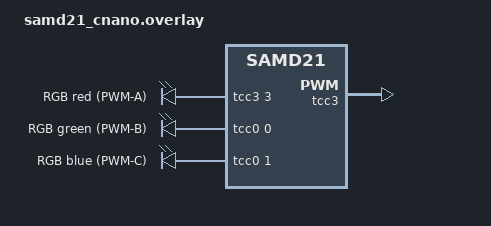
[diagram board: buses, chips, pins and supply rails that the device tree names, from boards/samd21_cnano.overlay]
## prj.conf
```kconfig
CONFIG_PWM=y
CONFIG_PWM_SAM0_TCC=y
CONFIG_PWM_SAM0_TC=n
```

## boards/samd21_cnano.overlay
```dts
/*
 * Curiosity Nano Explorer RGB LED on the SAM D21 Curiosity Nano (samd21_cnano).
 *
 * Explorer RGB LED (J309 jumpers fitted) <- CNANO socket analog section:
 *   RED   = PWM-A = CNANO "PWM3" = PB09
 *   GREEN = PWM-B = CNANO "PWM4" = PA04
 *   BLUE  = PWM-C = CNANO "ADC5" = PA05
 * (Explorer User Guide DS50003716 sec. 5.2/Fig. 10-3 + Curiosity Nano Explorer Pinouts.)
 *
 * PB09 only offers TC4/WO1 or TCC3/WO7. The TC PWM driver (pwm_sam0_tc.c) does
 * not support the SAMD21 TC register layout, so all three LEDs use TCC:
 *   GREEN PA04 -> TCC0/WO0 (CC0), BLUE PA05 -> TCC0/WO1 (CC1),
 *   RED   PB09 -> TCC3/WO7 (CC3; TCC3 exists on the SAMD21G17D only).
 */

/ {
	aliases {
		red-pwm-led = &red_pwm_led;
		green-pwm-led = &green_pwm_led;
		blue-pwm-led = &blue_pwm_led;
	};

	rgb_pwmleds {
		compatible = "pwm-leds";

		red_pwm_led: red_pwm_led {
			pwms = <&tcc3 3 PWM_MSEC(20)>;
			label = "RGB red (PWM-A)";
		};

		green_pwm_led: green_pwm_led {
			pwms = <&tcc0 0 PWM_MSEC(20)>;
			label = "RGB green (PWM-B)";
		};

		blue_pwm_led: blue_pwm_led {
			pwms = <&tcc0 1 PWM_MSEC(20)>;
			label = "RGB blue (PWM-C)";
		};
	};
};

&pinctrl {
	tcc0_rgb_default: tcc0_rgb_default {
		group1 {
			pinmux = <PA4E_TCC0_WO0>,	/* GREEN */
				 <PA5E_TCC0_WO1>;	/* BLUE */
		};
	};

	tcc3_rgb_default: tcc3_rgb_default {
		group1 {
			pinmux = <PB9F_TCC3_WO7>;	/* RED */
		};
	};
};

/* Board LED0 (PB10, TCC0/WO4) shares TCC0; drop it from TCC0's pinctrl. */
&tcc0 {
	pinctrl-0 = <&tcc0_rgb_default>;
};

&tcc3 {
	status = "okay";
	compatible = "atmel,sam0-tcc-pwm";
	prescaler = <4>;
	#pwm-cells = <2>;
	pinctrl-0 = <&tcc3_rgb_default>;
	pinctrl-names = "default";
};
```

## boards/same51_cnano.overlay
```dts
/*
 * Curiosity Nano Explorer RGB LED on the SAM E51 Curiosity Nano (same51_cnano).
 *
 * Explorer RGB LED (J309 jumpers fitted) <- CNANO socket analog section:
 *   RED   = PWM-A = CNANO "PWM3" = PA10 -> TCC0/WO2 (CC2, mux F)
 *   GREEN = PWM-B = CNANO "PWM4" = PA11 -> TCC0/WO3 (CC3, mux F)
 *   BLUE  = PWM-C = CNANO "ADC5" = PB09 -> TC4/WO1  (mux E, no TCC on PB09)
 * (Explorer User Guide DS50003716 sec. 5.2/Fig. 10-3 + Curiosity Nano Explorer Pinouts.)
 *
 * This board uses the Microchip "g1" drivers (pwm_mchp_tcc_g1.c / pwm_mchp_tc_g1.c),
 * not pwm_sam0_tc.c.
 */

/ {
	aliases {
		red-pwm-led = &red_pwm_led;
		green-pwm-led = &green_pwm_led;
		blue-pwm-led = &blue_pwm_led;
	};

	rgb_pwmleds {
		compatible = "pwm-leds";

		red_pwm_led: red_pwm_led {
			pwms = <&tcc0 2 PWM_MSEC(20) PWM_POLARITY_NORMAL>;
			label = "RGB red (PWM-A)";
		};

		green_pwm_led: green_pwm_led {
			pwms = <&tcc0 3 PWM_MSEC(20) PWM_POLARITY_NORMAL>;
			label = "RGB green (PWM-B)";
		};

		blue_pwm_led: blue_pwm_led {
			/* TC 16-bit MPWM: CC0 is the period, output is WO1 (channel 1) */
			pwms = <&tc4 1 PWM_MSEC(20) PWM_POLARITY_NORMAL>;
			label = "RGB blue (PWM-C)";
		};
	};
};

&pinctrl {
	tcc0_rgb_default: tcc0_rgb_default {
		group1 {
			pinmux = <PA10F_TCC0_WO2>,	/* RED */
				 <PA11F_TCC0_WO3>;	/* GREEN */
		};
	};

	tc4_rgb_default: tc4_rgb_default {
		group1 {
			pinmux = <PB9E_TC4_WO1>;	/* BLUE */
		};
	};
};

&tcc0 {
	compatible = "microchip,tcc-g1-pwm";
	#pwm-cells = <3>;
	pinctrl-0 = <&tcc0_rgb_default>;
	pinctrl-names = "default";
	prescaler = <8>;
	status = "okay";
};

&tc4 {
	compatible = "microchip,tc-g1-pwm";
	#pwm-cells = <3>;
	pinctrl-0 = <&tc4_rgb_default>;
	pinctrl-names = "default";
	/* 16-bit: 20 ms period needs f <= 3.27 MHz -> GCLK / 64 */
	prescaler = <64>;
	status = "okay";
};
```

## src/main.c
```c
#include <zephyr/kernel.h>
#include <zephyr/sys/printk.h>
#include <zephyr/device.h>
#include <zephyr/drivers/pwm.h>

static const struct pwm_dt_spec red_pwm_led =
	PWM_DT_SPEC_GET(DT_ALIAS(red_pwm_led));
static const struct pwm_dt_spec green_pwm_led =
	PWM_DT_SPEC_GET(DT_ALIAS(green_pwm_led));
static const struct pwm_dt_spec blue_pwm_led =
	PWM_DT_SPEC_GET(DT_ALIAS(blue_pwm_led));

#define HUE_STEPS   768   /* 6 segments x 128 steps */
#define SEG_STEPS   128
#define DELAY_MS    20    /* total cycle = 768 * 20 ms ≈ 15 s */

static int set_color(const struct pwm_dt_spec *led, uint32_t level)
{
	/* level: 0..SEG_STEPS */
	uint32_t pulse = (uint32_t)(((uint64_t)led->period * level) / SEG_STEPS);

	return pwm_set_pulse_dt(led, pulse);
}

int main(void)
{
	int ret;

	printk("Smooth RGB transition\n");

	if (!pwm_is_ready_dt(&red_pwm_led) ||
	    !pwm_is_ready_dt(&green_pwm_led) ||
	    !pwm_is_ready_dt(&blue_pwm_led)) {
		printk("Error: one or more PWM devices not ready\n");
		return 0;
	}

	while (1) {
		for (int h = 0; h < HUE_STEPS; h++) {
			int seg = h / SEG_STEPS;
			uint32_t up = h % SEG_STEPS;
			uint32_t down = SEG_STEPS - up;
			uint32_t r, g, b;

			switch (seg) {
			case 0: r = SEG_STEPS; g = up;        b = 0;         break; /* red -> yellow */
			case 1: r = down;      g = SEG_STEPS; b = 0;         break; /* yellow -> green */
			case 2: r = 0;         g = SEG_STEPS; b = up;        break; /* green -> cyan */
			case 3: r = 0;         g = down;      b = SEG_STEPS; break; /* cyan -> blue */
			case 4: r = up;        g = 0;         b = SEG_STEPS; break; /* blue -> magenta */
			default: r = SEG_STEPS; g = 0;        b = down;      break; /* magenta -> red */
			}

			ret = set_color(&red_pwm_led, r);
			if (ret == 0) { ret = set_color(&green_pwm_led, g); }
			if (ret == 0) { ret = set_color(&blue_pwm_led, b); }
			if (ret != 0) {
				printk("Error %d: PWM write failed\n", ret);
				return 0;
			}

			k_sleep(K_MSEC(DELAY_MS));
		}
	}

	return 0;
}
```
